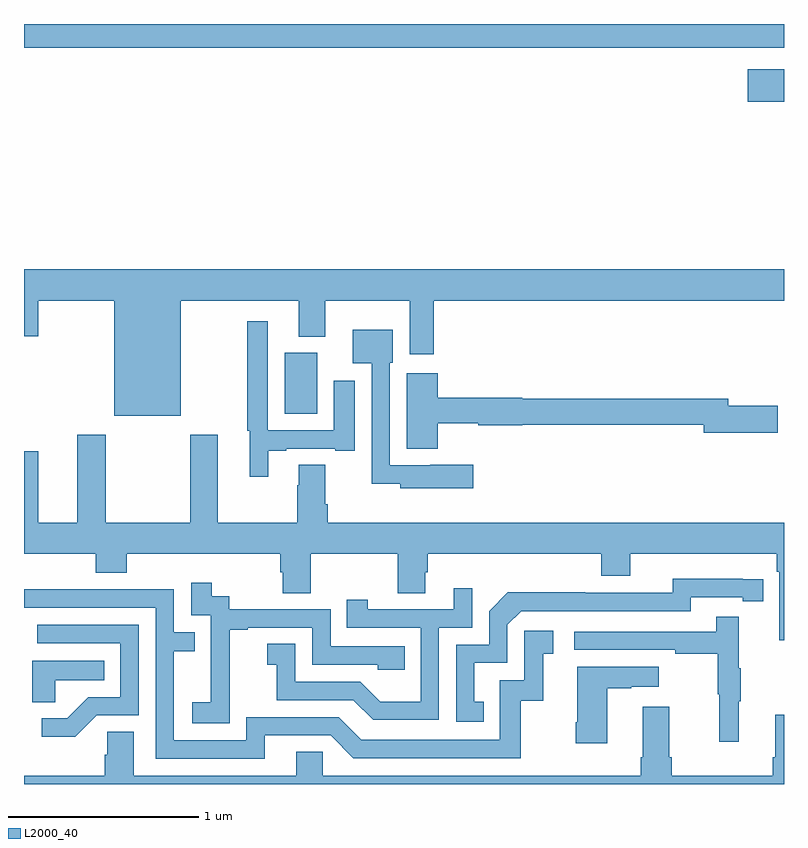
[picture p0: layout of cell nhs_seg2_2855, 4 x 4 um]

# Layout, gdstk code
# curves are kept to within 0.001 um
import gdstk
lib = gdstk.Library(unit=1e-6, precision=1e-09)
def R(c, l, rs):  # rectangles x0, y0, x1, y1
    for r in rs: c.add(gdstk.rectangle(r[:2], r[2:], *l))
def P(c, l, *ps):  # polygons
    for p in ps: c.add(gdstk.Polygon(p, *l))
L2000_40 = (2000, 40)

nhs_seg2_2855 = lib.new_cell('nhs_seg2_2855')
R(nhs_seg2_2855, L2000_40, [(262.373,605.75,262.543,606.07), (264.81,607.391,265,607.561), (261,607.676,265,607.8)])
P(nhs_seg2_2855, L2000_40, [(261.826,606.344),(262.445,606.344),(262.445,606.155),(262.585,606.155),(262.585,606.344),(263.03,606.344),(263.03,606.063),(263.156,606.063),(263.156,606.344),(265,606.344),(265,606.508),(261,606.508),(261,606.156),(261.076,606.156),(261.076,606.344),(261.476,606.344),(261.476,605.738),(261.826,605.738)],
  [(262.285,605.553),(262.381,605.553),(262.381,605.565),(262.637,605.565),(262.637,605.553),(262.741,605.553),(262.741,605.923),(262.631,605.923),(262.631,605.661),(262.284,605.661),(262.284,606.235),(262.176,606.235),(262.176,605.658),(262.187,605.658),(262.187,605.418),(262.285,605.418)],
  [(263.365,605.479),(263.138,605.479),(263.138,605.478),(262.926,605.478),(262.926,606.018),(262.942,606.018),(262.942,606.19),(262.73,606.19),(262.73,606.014),(262.83,606.014),(262.83,605.381),(262.98,605.381),(262.98,605.357),(263.365,605.357)],
  [(263.177,605.699),(263.391,605.699),(263.391,605.687),(263.622,605.687),(263.622,605.692),(264.578,605.692),(264.578,605.65),(264.967,605.65),(264.967,605.792),(264.706,605.792),(264.706,605.828),(263.622,605.828),(263.622,605.834),(263.177,605.834),(263.177,605.962),(263.015,605.962),(263.015,605.564),(263.177,605.564)],
  [(265,605.176),(262.598,605.176),(262.598,605.272),(262.585,605.272),(262.585,605.48),(262.445,605.48),(262.445,605.372),(262.438,605.372),(262.438,605.176),(262.021,605.176),(262.021,605.638),(261.874,605.638),(261.874,605.176),(261.429,605.176),(261.429,605.638),(261.281,605.638),(261.281,605.176),(261.076,605.176),(261.076,605.551),(261,605.551),(261,605.012),(261.377,605.012),(261.377,604.913),(261.541,604.913),(261.541,605.012),(262.349,605.012),(262.349,604.914),(262.361,604.914),(262.361,604.804),(262.509,604.804),(262.509,605.012),(262.966,605.012),(262.966,604.804),(263.113,604.804),(263.113,604.914),(263.126,604.914),(263.126,605.012),(264.038,605.012),(264.038,604.895),(264.19,604.895),(264.19,605.012),(264.962,605.012),(264.962,604.916),(264.975,604.916),(264.975,604.557),(265,604.557)],
  [(263.42,604.233),(263.371,604.233),(263.371,604.437),(263.544,604.437),(263.544,604.638),(263.616,604.71),(264.51,604.71),(264.51,604.782),(264.782,604.782),(264.782,604.762),(264.89,604.762),(264.89,604.878),(264.414,604.879),(264.414,604.806),(263.954,604.806),(263.954,604.808),(263.546,604.808),(263.448,604.71),(263.448,604.533),(263.274,604.533),(263.274,604.128),(263.42,604.128)],
  [(262.083,604.327),(262.082,604.327),(262.082,604.611),(262.177,604.611),(262.177,604.623),(262.518,604.623),(262.518,604.428),(262.863,604.428),(262.863,604.401),(263.003,604.401),(263.003,604.524),(262.614,604.524),(262.614,604.719),(262.08,604.719),(262.08,604.788),(261.988,604.788),(261.988,604.858),(261.879,604.858),(261.879,604.689),(261.984,604.689),(261.984,604.46),(261.983,604.46),(261.983,604.231),(261.885,604.231),(261.885,604.121),(262.083,604.121)],
  [(263.184,604.623),(263.358,604.623),(263.358,604.831),(263.261,604.831),(263.261,604.719),(262.81,604.719),(262.81,604.771),(262.699,604.771),(262.699,604.623),(263.088,604.623),(263.088,604.234),(262.874,604.234),(262.77,604.338),(262.428,604.338),(262.428,604.537),(262.281,604.537),(262.281,604.427),(262.33,604.427),(262.33,604.242),(262.733,604.242),(262.838,604.137),(263.184,604.137)],
  [(262.267,604.056),(262.614,604.056),(262.734,603.936),(263.614,603.936),(263.614,604.239),(263.732,604.239),(263.732,604.485),(263.785,604.485),(263.785,604.606),(263.634,604.606),(263.634,604.347),(263.505,604.347),(263.505,604.032),(262.776,604.032),(262.656,604.152),(262.17,604.152),(262.17,604.029),(261.789,604.029),(261.789,604.498),(261.899,604.498),(261.899,604.599),(261.789,604.599),(261.789,604.824),(261.293,604.824),(261.293,604.826),(261,604.826),(261,604.728),(261.693,604.728),(261.693,603.933),(262.267,603.933)],
  [(264.761,604.235),(264.772,604.235),(264.772,604.409),(264.761,604.409),(264.761,604.681),(264.643,604.681),(264.643,604.602),(263.895,604.602),(263.895,604.506),(264.427,604.506),(264.427,604.486),(264.651,604.486),(264.651,604.272),(264.658,604.272),(264.658,604.023),(264.761,604.023)],
  [(261.384,604.161),(261.603,604.161),(261.603,604.638),(261.069,604.638),(261.069,604.542),(261.507,604.542),(261.507,604.257),(261.338,604.257),(261.227,604.146),(261.093,604.146),(261.093,604.049),(261.271,604.049)],
  [(261.165,604.346),(261.422,604.346),(261.422,604.45),(261.044,604.45),(261.044,604.231),(261.165,604.231)],
  [(264.07,604.303),(264.197,604.303),(264.197,604.313),(264.34,604.313),(264.34,604.417),(263.912,604.417),(263.912,604.126),(263.905,604.126),(263.905,604.014),(264.07,604.014)],
  [(265,604.165),(264.953,604.165),(264.953,603.94),(264.941,603.94),(264.941,603.844),(264.41,603.844),(264.41,603.94),(264.397,603.94),(264.397,604.207),(264.257,604.207),(264.257,603.94),(264.245,603.94),(264.245,603.844),(262.572,603.844),(262.572,603.971),(262.433,603.971),(262.433,603.844),(261.577,603.844),(261.577,604.076),(261.438,604.076),(261.438,603.953),(261.425,603.953),(261.425,603.844),(261,603.844),(261,603.8),(265,603.8)])

lib.write_gds('nhs_seg2_2855.gds')
